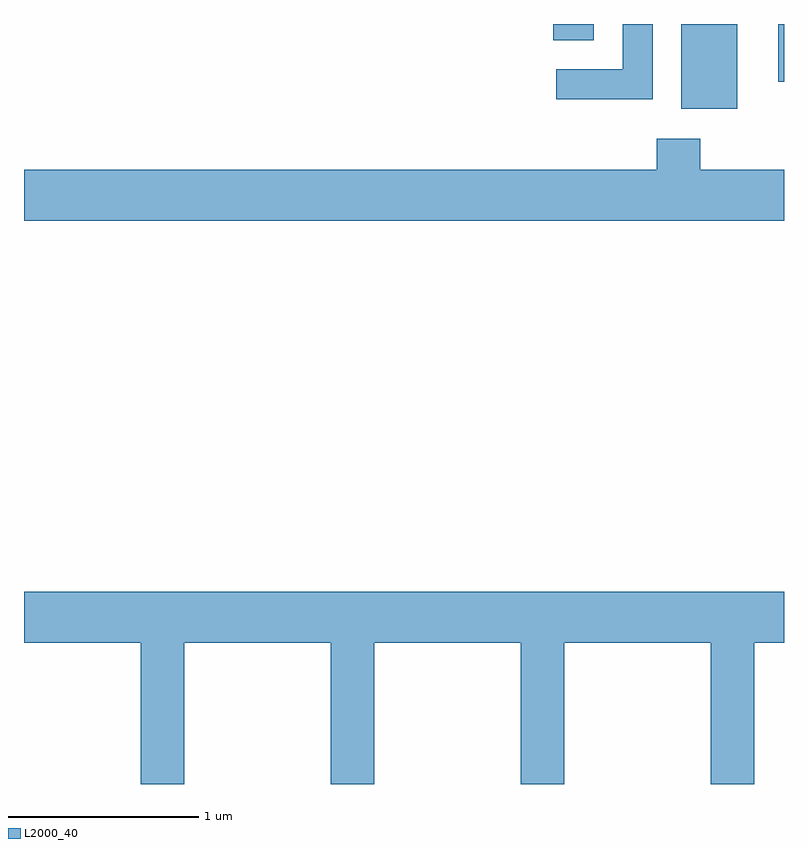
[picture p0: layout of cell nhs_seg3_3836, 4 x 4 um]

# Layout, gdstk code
import gdstk
lib = gdstk.Library(unit=1e-6, precision=1e-09)
def R(c, l, rs):  # rectangles x0, y0, x1, y1
    for r in rs: c.add(gdstk.rectangle(r[:2], r[2:], *l))
def P(c, l, *ps):  # polygons
    for p in ps: c.add(gdstk.Polygon(p, *l))
L2000_40 = (2000, 40)

nhs_seg3_3836 = lib.new_cell('nhs_seg3_3836')
R(nhs_seg3_3836, L2000_40, [(301.071,1175.446,301.364,1175.892), (301.581,1175.588,301.611,1175.892), (300.396,1175.806,300.609,1175.892)])
P(nhs_seg3_3836, L2000_40, [(300.919,1175.892),(300.761,1175.892),(300.761,1175.654),(300.413,1175.654),(300.413,1175.496),(300.919,1175.496)],
  [(301.611,1175.124),(301.169,1175.124),(301.169,1175.289),(300.941,1175.289),(300.941,1175.124),(297.611,1175.124),(297.611,1174.856),(301.611,1174.856)],
  [(298.454,1172.636),(299.226,1172.636),(299.226,1171.892),(299.454,1171.892),(299.454,1172.636),(300.226,1172.636),(300.226,1171.892),(300.454,1171.892),(300.454,1172.636),(301.226,1172.636),(301.226,1171.892),(301.454,1171.892),(301.454,1172.636),(301.611,1172.636),(301.611,1172.904),(297.611,1172.904),(297.611,1172.636),(298.226,1172.636),(298.226,1171.892),(298.454,1171.892)])

lib.write_gds('nhs_seg3_3836.gds')
